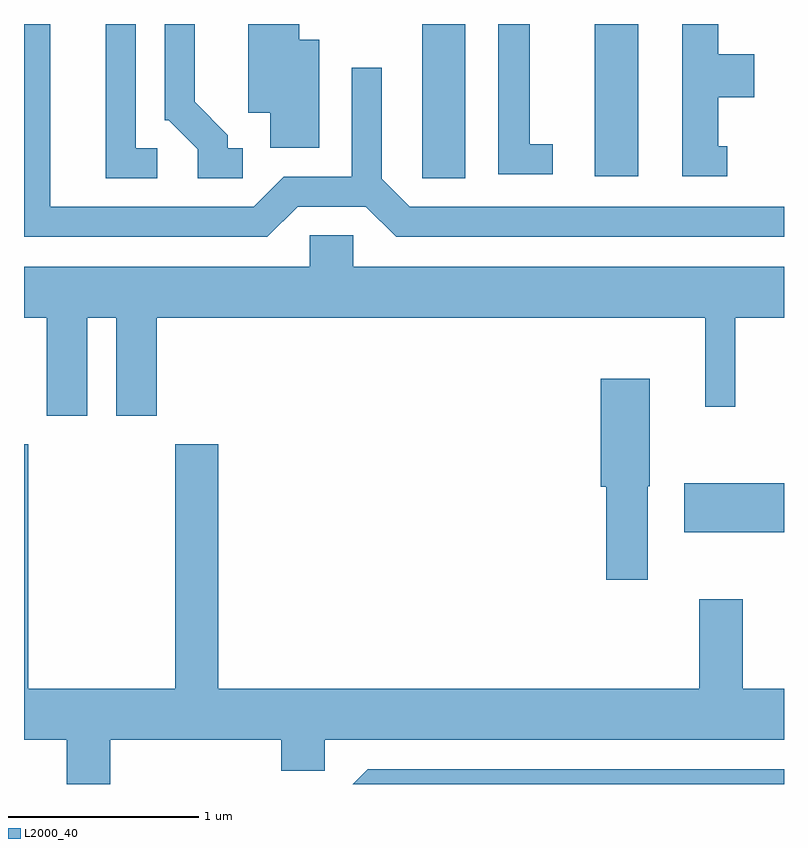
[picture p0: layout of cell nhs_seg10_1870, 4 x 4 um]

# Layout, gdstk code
import gdstk
lib = gdstk.Library(unit=1e-6, precision=1e-09)
def R(c, l, rs):  # rectangles x0, y0, x1, y1
    for r in rs: c.add(gdstk.rectangle(r[:2], r[2:], *l))
def P(c, l, *ps):  # polygons
    for p in ps: c.add(gdstk.Polygon(p, *l))
L2000_40 = (2000, 40)

nhs_seg10_1870 = lib.new_cell('nhs_seg10_1870')
R(nhs_seg10_1870, L2000_40, [(243.086,2163.846,243.611,2164.104), (241.706,2165.711,241.934,2166.522), (242.616,2165.721,242.844,2166.522)])
P(nhs_seg10_1870, L2000_40, [(241.052,2165.561),(241.409,2165.561),(241.569,2165.401),(243.611,2165.401),(243.611,2165.559),(241.642,2165.559),(241.494,2165.707),(241.494,2166.293),(241.336,2166.293),(241.336,2165.719),(240.979,2165.719),(240.819,2165.559),(239.749,2165.559),(239.749,2166.522),(239.611,2166.522),(239.611,2165.401),(240.892,2165.401)],
  [(241.164,2166.439),(241.059,2166.439),(241.059,2166.522),(240.791,2166.522),(240.791,2166.056),(240.906,2166.056),(240.906,2165.871),(241.164,2165.871)],
  [(243.313,2165.879),(243.264,2165.879),(243.264,2166.136),(243.454,2166.136),(243.454,2166.364),(243.264,2166.364),(243.264,2166.522),(243.076,2166.522),(243.076,2165.721),(243.313,2165.721)],
  [(242.393,2165.889),(242.274,2165.889),(242.274,2166.522),(242.106,2166.522),(242.106,2165.731),(242.393,2165.731)],
  [(240.763,2165.869),(240.684,2165.869),(240.684,2165.937),(240.509,2166.112),(240.509,2166.522),(240.351,2166.522),(240.351,2166.016),(240.374,2166.016),(240.526,2165.864),(240.526,2165.711),(240.763,2165.711)],
  [(240.313,2165.869),(240.199,2165.869),(240.199,2166.522),(240.041,2166.522),(240.041,2165.711),(240.313,2165.711)],
  [(239.944,2164.976),(240.096,2164.976),(240.096,2164.461),(240.309,2164.461),(240.309,2164.976),(243.196,2164.976),(243.196,2164.508),(243.354,2164.508),(243.354,2164.976),(243.611,2164.976),(243.611,2165.244),(241.344,2165.244),(241.344,2165.409),(241.116,2165.409),(241.116,2165.244),(239.611,2165.244),(239.611,2164.976),(239.731,2164.976),(239.731,2164.461),(239.944,2164.461)],
  [(242.894,2164.09),(242.904,2164.09),(242.904,2164.654),(242.646,2164.654),(242.646,2164.086),(242.676,2164.086),(242.676,2163.596),(242.894,2163.596)],
  [(240.634,2164.309),(240.406,2164.309),(240.406,2163.024),(239.634,2163.024),(239.634,2164.309),(239.611,2164.309),(239.611,2162.756),(239.836,2162.756),(239.836,2162.522),(240.064,2162.522),(240.064,2162.756),(240.966,2162.756),(240.966,2162.591),(241.194,2162.591),(241.194,2162.756),(243.611,2162.756),(243.611,2163.024),(243.394,2163.024),(243.394,2163.494),(243.166,2163.494),(243.166,2163.024),(240.634,2163.024)],
  [(243.611,2162.599),(241.419,2162.599),(241.342,2162.522),(243.611,2162.522)])

lib.write_gds('nhs_seg10_1870.gds')
